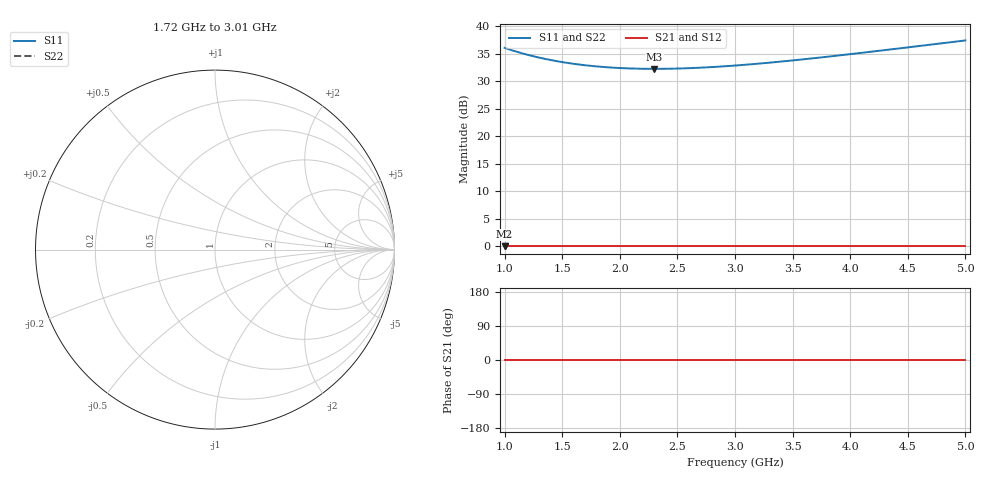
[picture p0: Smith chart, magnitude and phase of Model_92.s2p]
# GHZ S RI R 50
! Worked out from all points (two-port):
!   401 points, 1 GHz to 5 GHz, reference 50 ohm
!   highest |S21| = 0.00 dB at 1 GHz (marker M1); lowest = 0.0 dB at 1 GHz (marker M2)
!   |S21| within 3 dB of the highest: start of sweep to end of sweep
!   lowest |S11| = 32.3 dB at 2.3 GHz (marker M3)
!   |S11| at or under -10 dB: nowhere
!   |S22| runs from 32.3 to 37.4 dB; largest |S21 - S12| = 0
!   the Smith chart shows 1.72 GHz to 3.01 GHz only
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1  63.87 0  1 0  1 0  63.87 0
1.15  57.02 0  1 0  1 0  57.02 0
1.22  54.5 0  1 0  1 0  54.5 0
1.3  52.03 0  1 0  1 0  52.03 0
1.38  49.94 0  1 0  1 0  49.94 0
1.47  47.96 0  1 0  1 0  47.96 0
1.57  46.16 0  1 0  1 0  46.16 0
1.67  44.71 0  1 0  1 0  44.71 0
1.82  43.08 0  1 0  1 0  43.08 0
1.97  41.99 0  1 0  1 0  41.99 0
2.13  41.33 0  1 0  1 0  41.33 0
2.3  41.11 0  1 0  1 0  41.11 0
2.34  41.12 0  1 0  1 0  41.12 0
2.5  41.37 0  1 0  1 0  41.37 0
2.66  41.94 0  1 0  1 0  41.94 0
3  44.06 0  1 0  1 0  44.06 0
3.33  47.13 0  1 0  1 0  47.13 0
3.67  51.2 0  1 0  1 0  51.2 0
4  55.94 0  1 0  1 0  55.94 0
4.34  61.58 0  1 0  1 0  61.58 0
4.63  66.96 0  1 0  1 0  66.96 0
5  74.56 0  1 0  1 0  74.56 0
